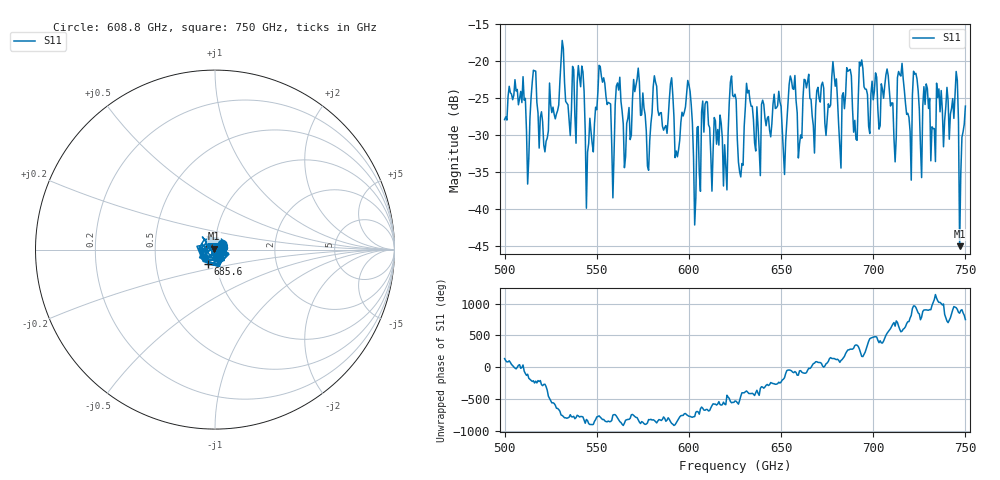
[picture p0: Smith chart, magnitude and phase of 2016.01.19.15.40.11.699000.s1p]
!Created with skrf (http://scikit-rf.org).
# GHz S RI R 50.0
!freq ReS11 ImS11
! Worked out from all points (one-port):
!   401 points, 500 GHz to 750 GHz, reference 50 ohm
!   lowest |S11| = -45.0 dB at 746.9 GHz (marker M1), VSWR 1.01, Z = 49.6 + j0.426 ohm
!   |S11| at or under -10 dB: start of sweep to end of sweep
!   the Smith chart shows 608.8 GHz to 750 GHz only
!   S11 on the Smith chart (normalised r, x): 608.8 GHz: 1.08, +0.07; 685.6 GHz: 0.92, -0.15; 750 GHz: 1.09, +0.05
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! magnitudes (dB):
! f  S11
! 500 GHz  -27.9
! 513.1 GHz  -33.1
! 515.6 GHz  -21.2
! 522.5 GHz  -30.8
! 531.2 GHz  -17.2
! 541.2 GHz  -23.4
! 545 GHz  -32.3
! 552.5 GHz  -22.0
! 558.1 GHz  -31.3
! 562.5 GHz  -22.2
! 578.1 GHz  -34.7
! 590.6 GHz  -22.2
! 593.8 GHz  -32.9
! 604.4 GHz  -29.0
! 608.8 GHz  -25.8
! 619.4 GHz  -31.3
! 625 GHz  -24.4
! 628.1 GHz  -35.6
! 631.9 GHz  -24.3
! 651.9 GHz  -35.3
! 656.2 GHz  -23.7
! 660 GHz  -31.2
! 685.6 GHz  -20.9
! 687.5 GHz  -21.1
! 718.8 GHz  -27.0
! 744.4 GHz  -24.4
! 746.9 GHz  -45.0
! 750 GHz  -26.1
